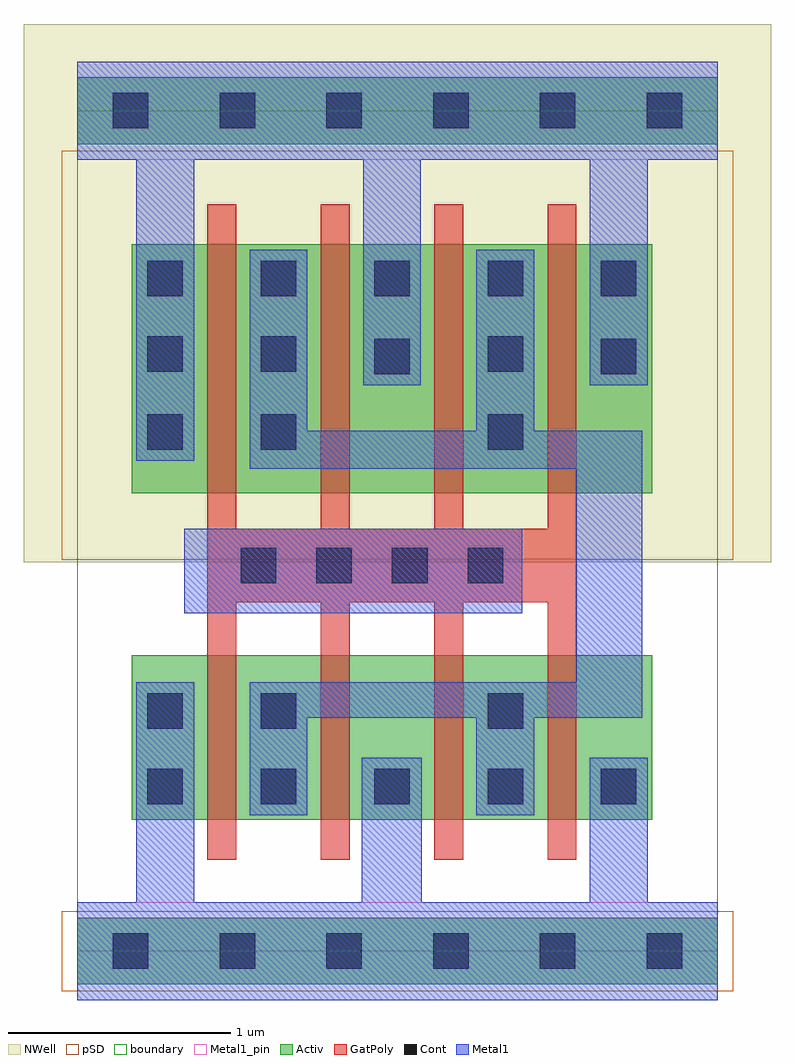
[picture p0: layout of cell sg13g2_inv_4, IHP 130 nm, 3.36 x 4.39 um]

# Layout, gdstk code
import gdstk
lib = gdstk.Library(unit=1e-6, precision=1e-09)
def R(c, l, rs):  # rectangles x0, y0, x1, y1
    for r in rs: c.add(gdstk.rectangle(r[:2], r[2:], *l))
def P(c, l, *ps):  # polygons
    for p in ps: c.add(gdstk.Polygon(p, *l))
Activ = (1, 0)
GatPoly = (5, 0)
Cont = (6, 0)
Metal1 = (8, 0)
Metal1_pin = (8, 2)
pSD = (14, 0)
NWell = (31, 0)
boundary = (189, 4)

sg13g2_inv_4 = lib.new_cell('sg13g2_inv_4')
R(sg13g2_inv_4, Activ, [(0,-0.15,2.88,0.15), (0,-0.15,2.88,0.15), (0.245,0.59,2.585,1.33), (0.245,0.59,2.585,1.33), (0.245,2.06,2.585,3.18), (0.245,2.06,2.585,3.18), (0,3.63,2.88,3.93), (0,3.63,2.88,3.93)])
P(sg13g2_inv_4, GatPoly, [(0.585,0.41),(0.585,3.36),(0.715,3.36),(0.715,1.9),(1.095,1.9),(1.095,3.36),(1.225,3.36),(1.225,1.9),(1.605,1.9),(1.605,3.36),(1.735,3.36),(1.735,1.9),(2.115,1.9),(2.115,3.36),(2.245,3.36),(2.245,0.41),(2.115,0.41),(2.115,1.57),(1.735,1.57),(1.735,0.41),(1.605,0.41),(1.605,1.57),(1.225,1.57),(1.225,0.41),(1.095,0.41),(1.095,1.57),(0.715,1.57),(0.715,0.41)],
  [(0.585,0.41),(0.585,3.36),(0.715,3.36),(0.715,1.9),(1.095,1.9),(1.095,3.36),(1.225,3.36),(1.225,1.9),(1.605,1.9),(1.605,3.36),(1.735,3.36),(1.735,1.9),(2.115,1.9),(2.115,3.36),(2.245,3.36),(2.245,0.41),(2.115,0.41),(2.115,1.57),(1.735,1.57),(1.735,0.41),(1.605,0.41),(1.605,1.57),(1.225,1.57),(1.225,0.41),(1.095,0.41),(1.095,1.57),(0.715,1.57),(0.715,0.41)])
R(sg13g2_inv_4, Cont, [(0.16,-0.08,0.32,0.08), (0.16,-0.08,0.32,0.08), (0.16,-0.08,0.32,0.08), (0.16,-0.08,0.32,0.08), (0.64,-0.08,0.8,0.08), (0.64,-0.08,0.8,0.08), (0.64,-0.08,0.8,0.08), (0.64,-0.08,0.8,0.08), (1.12,-0.08,1.28,0.08), (1.12,-0.08,1.28,0.08), (1.12,-0.08,1.28,0.08), (1.12,-0.08,1.28,0.08), (1.6,-0.08,1.76,0.08), (1.6,-0.08,1.76,0.08), (1.6,-0.08,1.76,0.08), (1.6,-0.08,1.76,0.08), (2.08,-0.08,2.24,0.08), (2.08,-0.08,2.24,0.08), (2.08,-0.08,2.24,0.08), (2.08,-0.08,2.24,0.08), (2.56,-0.08,2.72,0.08), (2.56,-0.08,2.72,0.08), (2.56,-0.08,2.72,0.08), (2.56,-0.08,2.72,0.08), (0.315,0.66,0.475,0.82), (0.315,0.66,0.475,0.82), (0.825,0.66,0.985,0.82), (0.825,0.66,0.985,0.82), (1.335,0.66,1.495,0.82), (1.335,0.66,1.495,0.82), (1.845,0.66,2.005,0.82), (1.845,0.66,2.005,0.82), (2.355,0.66,2.515,0.82), (2.355,0.66,2.515,0.82), (0.315,1,0.475,1.16), (0.315,1,0.475,1.16), (0.825,1,0.985,1.16), (0.825,1,0.985,1.16), (1.845,1,2.005,1.16), (1.845,1,2.005,1.16), (0.735,1.655,0.895,1.815), (0.735,1.655,0.895,1.815), (1.075,1.655,1.235,1.815), (1.075,1.655,1.235,1.815), (1.415,1.655,1.575,1.815), (1.415,1.655,1.575,1.815), (1.755,1.655,1.915,1.815), (1.755,1.655,1.915,1.815), (0.315,2.255,0.475,2.415), (0.315,2.255,0.475,2.415), (0.825,2.255,0.985,2.415), (0.825,2.255,0.985,2.415), (1.845,2.255,2.005,2.415), (1.845,2.255,2.005,2.415), (1.335,2.595,1.495,2.755), (1.335,2.595,1.495,2.755), (2.355,2.595,2.515,2.755), (2.355,2.595,2.515,2.755), (0.315,2.605,0.475,2.765), (0.315,2.605,0.475,2.765), (0.825,2.605,0.985,2.765), (0.825,2.605,0.985,2.765), (1.845,2.605,2.005,2.765), (1.845,2.605,2.005,2.765), (0.315,2.945,0.475,3.105), (0.315,2.945,0.475,3.105), (0.825,2.945,0.985,3.105), (0.825,2.945,0.985,3.105), (1.335,2.945,1.495,3.105), (1.335,2.945,1.495,3.105), (1.845,2.945,2.005,3.105), (1.845,2.945,2.005,3.105), (2.355,2.945,2.515,3.105), (2.355,2.945,2.515,3.105), (0.16,3.7,0.32,3.86), (0.16,3.7,0.32,3.86), (0.16,3.7,0.32,3.86), (0.16,3.7,0.32,3.86), (0.64,3.7,0.8,3.86), (0.64,3.7,0.8,3.86), (0.64,3.7,0.8,3.86), (0.64,3.7,0.8,3.86), (1.12,3.7,1.28,3.86), (1.12,3.7,1.28,3.86), (1.12,3.7,1.28,3.86), (1.12,3.7,1.28,3.86), (1.6,3.7,1.76,3.86), (1.6,3.7,1.76,3.86), (1.6,3.7,1.76,3.86), (1.6,3.7,1.76,3.86), (2.08,3.7,2.24,3.86), (2.08,3.7,2.24,3.86), (2.08,3.7,2.24,3.86), (2.08,3.7,2.24,3.86), (2.56,3.7,2.72,3.86), (2.56,3.7,2.72,3.86), (2.56,3.7,2.72,3.86), (2.56,3.7,2.72,3.86)])
R(sg13g2_inv_4, Metal1, [(0.48,1.52,2,1.9), (0.48,1.52,2,1.9)])
P(sg13g2_inv_4, Metal1, [(0.775,0.61),(0.775,1.21),(2.245,1.21),(2.245,2.17),(0.775,2.17),(0.775,3.155),(1.035,3.155),(1.035,2.34),(1.795,2.34),(1.795,3.155),(2.055,3.155),(2.055,2.34),(2.54,2.34),(2.54,1.05),(2.055,1.05),(2.055,0.61),(1.795,0.61),(1.795,1.05),(1.035,1.05),(1.035,0.61)],
  [(0.265,2.205),(0.265,3.56),(0,3.56),(0,4),(2.88,4),(2.88,3.56),(2.565,3.56),(2.565,2.545),(2.305,2.545),(2.305,3.56),(1.545,3.56),(1.545,2.545),(1.285,2.545),(1.285,3.56),(0.525,3.56),(0.525,2.205)],
  [(0,-0.22),(0,0.22),(0.265,0.22),(0.265,1.21),(0.525,1.21),(0.525,0.22),(1.28,0.22),(1.28,0.87),(1.55,0.87),(1.55,0.22),(2.305,0.22),(2.305,0.87),(2.565,0.87),(2.565,0.22),(2.88,0.22),(2.88,-0.22)],
  [(0.775,0.61),(0.775,1.21),(2.245,1.21),(2.245,2.17),(0.775,2.17),(0.775,3.155),(1.035,3.155),(1.035,2.34),(1.795,2.34),(1.795,3.155),(2.055,3.155),(2.055,2.34),(2.54,2.34),(2.54,1.05),(2.055,1.05),(2.055,0.61),(1.795,0.61),(1.795,1.05),(1.035,1.05),(1.035,0.61)],
  [(0.265,2.205),(0.265,3.56),(0,3.56),(0,4),(2.88,4),(2.88,3.56),(2.565,3.56),(2.565,2.545),(2.305,2.545),(2.305,3.56),(1.545,3.56),(1.545,2.545),(1.285,2.545),(1.285,3.56),(0.525,3.56),(0.525,2.205)],
  [(0,-0.22),(0,0.22),(0.265,0.22),(0.265,1.21),(0.525,1.21),(0.525,0.22),(1.28,0.22),(1.28,0.87),(1.55,0.87),(1.55,0.22),(2.305,0.22),(2.305,0.87),(2.565,0.87),(2.565,0.22),(2.88,0.22),(2.88,-0.22)])
R(sg13g2_inv_4, Metal1_pin, [(0,-0.22,2.88,0.22), (0,-0.22,2.88,0.22), (2.245,1.05,2.54,2.34), (2.245,1.05,2.54,2.34), (0.48,1.52,2,1.9), (0.48,1.52,2,1.9), (0,3.56,2.88,4), (0,3.56,2.88,4)])
R(sg13g2_inv_4, pSD, [(-0.07,-0.18,2.95,0.18), (-0.07,-0.18,2.95,0.18), (-0.07,1.76,2.95,3.6), (-0.07,1.76,2.95,3.6)])
R(sg13g2_inv_4, NWell, [(-0.24,1.75,3.12,4.17), (-0.24,1.75,3.12,4.17)])
R(sg13g2_inv_4, boundary, [(0,0,2.88,3.78), (0,0,2.88,3.78)])

lib.write_gds('sg13g2_inv_4.gds')
